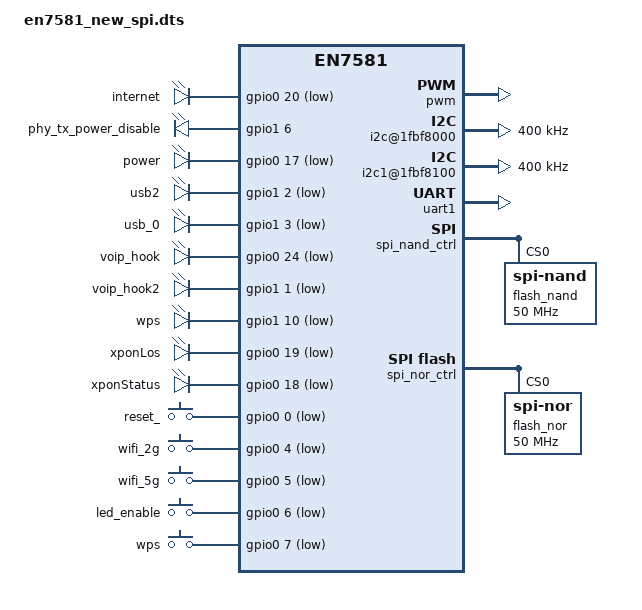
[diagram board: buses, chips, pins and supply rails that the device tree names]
/* copy from en7581_evb.dts */
#include <dt-bindings/interrupt-controller/arm-gic.h>
#include <dt-bindings/gpio/gpio.h>
#include <dt-bindings/input/input.h>
#include <dt-bindings/thermal/thermal.h>

/dts-v1/;

#include "en7581_new_spi.dtsi"

/ {
	compatible = "econet,en7581", "airoha,en7581";
	#address-cells = <2>;
	#size-cells = <2>;

	
	leds {
		compatible = "gpio-leds";

		internet {
			label = "internet";
			gpios = <&gpio0 20 GPIO_ACTIVE_LOW>;
			linux,default-trigger = "timer";
		};
		phy_tx_power_disable {
			label = "phy_tx_power_disable";
			gpios = <&gpio1 6 GPIO_ACTIVE_HIGH>;
			linux,default-trigger = "timer";
		};
		power {
			label = "power";
			gpios = <&gpio0 17 GPIO_ACTIVE_LOW>;
			linux,default-trigger = "timer";
		};
		usb2 {
			label = "usb2";
			gpios = <&gpio1 2 GPIO_ACTIVE_LOW>;
			linux,default-trigger = "timer";
		};
		usb_0 {
			label = "usb_0";
			gpios = <&gpio1 3 GPIO_ACTIVE_LOW>;
			linux,default-trigger = "timer";
		};
		voip_hook {
			label = "voip_hook";
			gpios = <&gpio0 24 GPIO_ACTIVE_LOW>;
			linux,default-trigger = "timer";
		};
		voip_hook2 {
			label = "voip_hook2";
			gpios = <&gpio1 1 GPIO_ACTIVE_LOW>;
			linux,default-trigger = "timer";
		};
		wps {
			label = "wps";
			gpios = <&gpio1 10 GPIO_ACTIVE_LOW>;
			linux,default-trigger = "timer";
		};
		xponLos {
			label = "xponLos";
			gpios = <&gpio0 19 GPIO_ACTIVE_LOW>;
			linux,default-trigger = "timer";
		};
		xponStatus {
			label = "xponStatus";
			gpios = <&gpio0 18 GPIO_ACTIVE_LOW>;
			linux,default-trigger = "timer";
		};
	};
	

	gpio0: gpio@1fbf0200 {
		compatible = "airoha,airoha-gpio";
		gpio_base = <0>;
		reg = <0x0 0x1fbf0204 0x0 0x4>,
		      <0x0 0x1fbf0200 0x0 0x4>,
		      <0x0 0x1fbf0220 0x0 0x4>,
		      <0x0 0x1fbf0214 0x0 0x4>;
		gpio-controller;
		#gpio-cells = <2>;
	};

	gpio1: gpio@1fbf0270 {
		compatible = "airoha,airoha-gpio";
		gpio_base = <32>;
		reg = <0x0 0x1fbf0270 0x0 0x4>,
		      <0x0 0x1fbf0260 0x0 0x4>,
		      <0x0 0x1fbf0264 0x0 0x4>,
		      <0x0 0x1fbf0278 0x0 0x4>;
		gpio-controller;
		#gpio-cells = <2>;
	};
	
	pwm: pwm@1fbf0234{
		compatible = "airoha,airoha-pwm";
		reg = <0x0 0x1fbf0234 0x0 0x20>,
		      <0x0 0x1fbf0268 0x0 0x4>,
		      <0x0 0x1fbf0298 0x0 0x24>;
	};
	
	gpio@1fbf0224 {
		compatible = "econet,ecnt-gpio";
		reg =
			/* LED Display*/
			<0x0 0x1fbf0218 0x0 0x08>,
			/* SGPIO */
			<0x0 0x1fbf0224 0x0 0x10>,
			/* flash mode*/
			<0x0 0x1fbf0234 0x0 0x2C>,
			<0x0 0x1fbf0268 0x0 0x4>,
			/* GPIO INT*/
			<0x0 0x1fbf0208 0x0 0x0C>,
			<0x0 0x1fbf027C 0x0 0x1C>,
			/* PWM */
			<0x0 0x1fbf0298 0x0 0x28>;
	};
	
	gpio-keys-polled {
		compatible = "gpio-keys-polled";
		poll-interval = <100>;
		
		reset_ {
			label = "reset_";
			linux,code = <BTN_0>;
			gpios = <&gpio0 0 GPIO_ACTIVE_LOW>;
		};
		
		wifi_2g {
			label = "wifi_2g";
			linux,code = <BTN_2>;
			gpios = <&gpio0 4 GPIO_ACTIVE_LOW>;
		};
		
		wifi_5g {
			label = "wifi_5g";
			linux,code = <BTN_3>;
			gpios = <&gpio0 5 GPIO_ACTIVE_LOW>;
		};
		
		led_enable {
			label = "led_enable";
			linux,code = <BTN_1>;
			gpios = <&gpio0 6 GPIO_ACTIVE_LOW>;
		};
		
		wps {
			label = "wps";
			linux,code = <KEY_WPS_BUTTON>;
			gpios = <&gpio0 7 GPIO_ACTIVE_LOW>;
		};
	};

	partitions {
		compatible = "fixed-partitions";
		#address-cells = <1>;
		#size-cells = <1>;

		bootloader@0 {
			label = "bootloader";
			reg = <0x00000000 0x00080000>;
		};
		tclinux@80000 {
			label = "tclinux";
			reg = <0x00080000 0x03200000>;
		};
		tclinux_slave@2880000 {
			label = "tclinux_slave";
			reg = <0x03280000 0x03200000>;
		};		
		rootfs_data@5080000 {
			label = "rootfs_data";
			reg = <0x06480000 0x00800000>;
		};
		art@de80000 {
			label = "art";
			//art is located in flash end. if reg offset != ffffffff, it represents the actual offset
			//else offset = flash_logic_size-reg_size(drivers/mtd/maps/tc3162-flash.c)
			reg = <0xffffffff 0x00380000>;
		};
	};



	partition-nor@1fa10000 {
		compatible = "fixed-partitions";
		#address-cells = <1>;
		#size-cells = <1>;

		bootloader@0 {
			label = "bootloader";
			reg = <0x00000000 0x00080000>;
		};
		tclinux@80000 {
			label = "tclinux";
			reg = <0x00080000 0x1900000>;
		};
		rootfs_data@5080000 {
			label = "rootfs_data";
			reg = <0x1980000 0x400000>;
		};
	};

	i2c@1fbf8000 {
		compatible = "airoha,airoha-i2c";
		reg = <0x0 0x1fbf8000 0x0 0x65>;
		clock-frequency = <400000>;
	};
	
	i2c1@1fbf8100 {
		compatible = "airoha,airoha-i2c";
		reg = <0x0 0x1fbf8100 0x0 0x65>;
		clock-frequency = <400000>;
	};
	
	airoha_trng@1faa1000 {
	compatible = "airoha,airoha-trng";
	reg = <0x0 0x1faa1000 0x0 0xc04>;
	interrupts = <GIC_SPI 35 IRQ_TYPE_LEVEL_HIGH>;
	};
	
	thermal-zones {
		cpu_thermal: cpu-thermal {
			polling-delay-passive = <200>;
			polling-delay = <1000>;
			thermal-sensors = <&thermal_phy 0>;
			trips {
				cpu_passive: cpu-passive {
					temperature = <105000>;
					hysteresis = <0>;
					type = "passive";
				};
			};
			cooling-maps {
				map0 {
					trip = <&cpu_passive>;
					cooling-device = <&cpu0 THERMAL_NO_LIMIT THERMAL_NO_LIMIT>,
							 <&cpu1 THERMAL_NO_LIMIT THERMAL_NO_LIMIT>,
                                                         <&cpu2 THERMAL_NO_LIMIT THERMAL_NO_LIMIT>,
                                                         <&cpu3 THERMAL_NO_LIMIT THERMAL_NO_LIMIT>;
				};
			};
		};
	};
	thermal_phy: thermal_phy@1efbd000 {
		#thermal-sensor-cells = <0>;
		compatible = "airoha,en7581-thermal_phy";		
		reg = <0x0 0x1efbd000 0x0 0x0fff>; //ptp_thermal_ctrl
		int_name = "ptp_therm";
	};
	uart1: serial@1fbf0000 {
		compatible = "ns8250";
		reg = <0x0 0x1fbf0000 0x0 0x30>;
		reg-io-width = <4>;
		reg-shift = <2>;
		interrupts = <GIC_SPI 18 IRQ_TYPE_LEVEL_HIGH>;
		clock-frequency = <1843200>;
		status = "okay";
	};


	spi_nand_ctrl: spi_nand@1fa10000 {
		compatible = "airoha,airoha-snand";
		reg = <0x0 0x1fa10000 0x0 0x140>,	//SPI Controller Base
			  <0x0 0x1fa11000 0x0 0x160>;	//NFI2SPI
		interrupts = <GIC_SPI 51 IRQ_TYPE_LEVEL_HIGH>;
		#address-cells = <1>;
		#size-cells = <0>;
		flash_nand: flash@0 {
			compatible = "spi-nand";
			reg = <0>;
			spi-max-frequency = <50000000>;
			spi-tx-bus-width = <1>;
			spi-rx-bus-width = <2>;
			airoha,bmt;
		
		};
	};


	spi_nor_ctrl: spi_nor@1fa10000 {
		compatible = "airoha,airoha-snor";
		reg = <0x0 0x1fa10000 0x0 0x140>,	//SPI Controller Base
			  <0x0 0x1fa11000 0x0 0x160>;	//NFI2SPI
		interrupts = <GIC_SPI 51 IRQ_TYPE_LEVEL_HIGH>;
		#address-cells = <1>;
		#size-cells = <0>;
		flash_nor: flash@1 {
			compatible = "jedec,spi-nor";
			reg = <0>;
			spi-max-frequency = <50000000>;
			spi-tx-bus-width = <1>;
			spi-rx-bus-width = <2>;
		
		};
	};
};
